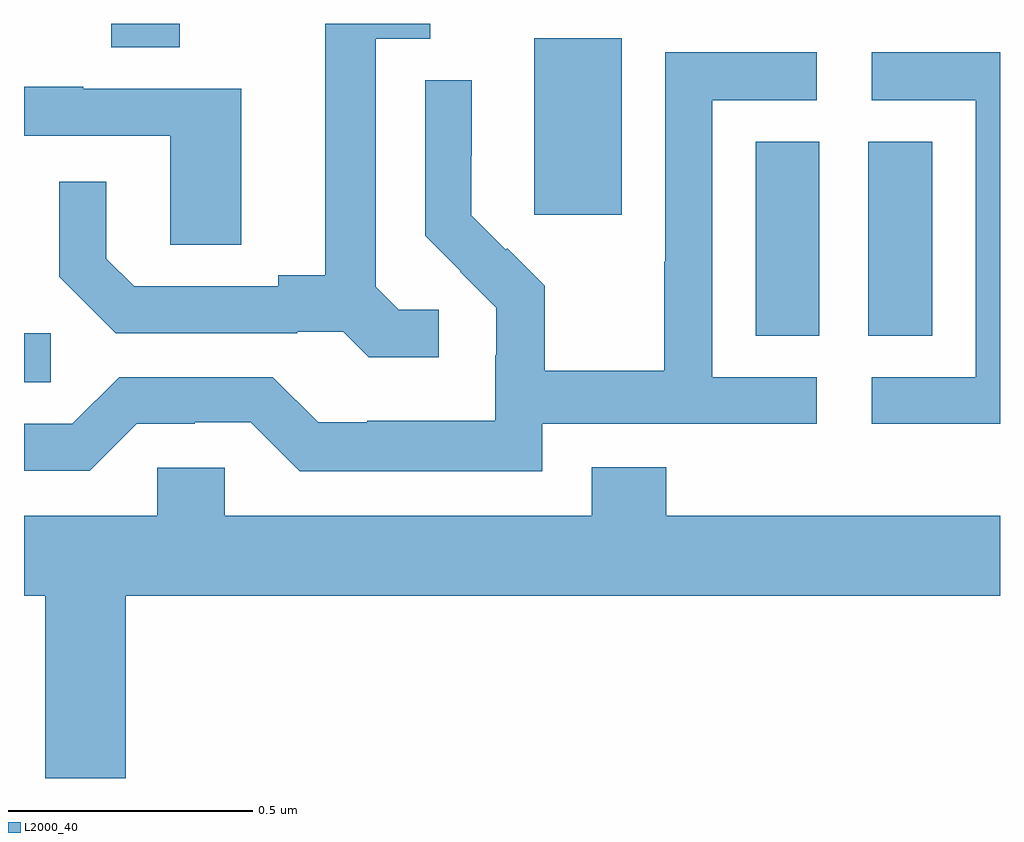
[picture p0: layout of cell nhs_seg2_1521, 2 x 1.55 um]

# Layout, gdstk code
import gdstk
lib = gdstk.Library(unit=1e-6, precision=1e-09)
def R(c, l, rs):  # rectangles x0, y0, x1, y1
    for r in rs: c.add(gdstk.rectangle(r[:2], r[2:], *l))
def P(c, l, *ps):  # polygons
    for p in ps: c.add(gdstk.Polygon(p, *l))
L2000_40 = (2000, 40)

nhs_seg2_1521 = lib.new_cell('nhs_seg2_1521')
R(nhs_seg2_1521, L2000_40, [(129,656.065,129.055,656.166), (130.499,656.161,130.63,656.558), (130.73,656.161,130.861,656.558), (130.046,656.409,130.225,656.77), (129.179,656.752,129.319,656.8)])
P(nhs_seg2_1521, L2000_40, [(129.85,656.214),(129.768,656.214),(129.721,656.261),(129.721,656.769),(129.832,656.769),(129.832,656.8),(129.617,656.8),(129.617,656.285),(129.521,656.285),(129.521,656.262),(129.226,656.262),(129.169,656.319),(129.169,656.476),(129.072,656.476),(129.072,656.282),(129.188,656.166),(129.56,656.166),(129.56,656.169),(129.654,656.169),(129.706,656.117),(129.85,656.117)],
  [(131,656.742),(130.737,656.742),(130.737,656.643),(130.95,656.643),(130.95,656.076),(130.737,656.076),(130.737,655.98),(131,655.98)],
  [(130.062,655.98),(130.624,655.98),(130.624,656.076),(130.41,656.076),(130.41,656.643),(130.624,656.643),(130.624,656.742),(130.314,656.742),(130.314,656.312),(130.312,656.312),(130.312,656.089),(130.067,656.089),(130.067,656.263),(129.99,656.34),(129.987,656.337),(129.917,656.408),(129.917,656.53),(129.918,656.53),(129.918,656.684),(129.822,656.684),(129.822,656.366),(129.895,656.293),(129.894,656.292),(129.968,656.218),(129.968,656.121),(129.966,656.121),(129.966,655.987),(129.703,655.987),(129.703,655.983),(129.603,655.983),(129.51,656.076),(129.195,656.076),(129.099,655.98),(129,655.98),(129,655.884),(129.135,655.884),(129.231,655.98),(129.35,655.98),(129.35,655.983),(129.465,655.983),(129.565,655.883),(130.062,655.883)],
  [(129.445,656.667),(129.121,656.667),(129.121,656.671),(129,656.671),(129,656.571),(129.3,656.571),(129.3,656.347),(129.445,656.347)],
  [(129.208,655.628),(131,655.628),(131,655.792),(130.316,655.792),(130.316,655.891),(130.163,655.891),(130.163,655.792),(129.411,655.792),(129.411,655.89),(129.273,655.89),(129.273,655.792),(129,655.792),(129,655.628),(129.044,655.628),(129.044,655.254),(129.208,655.254)])

lib.write_gds('nhs_seg2_1521.gds')
